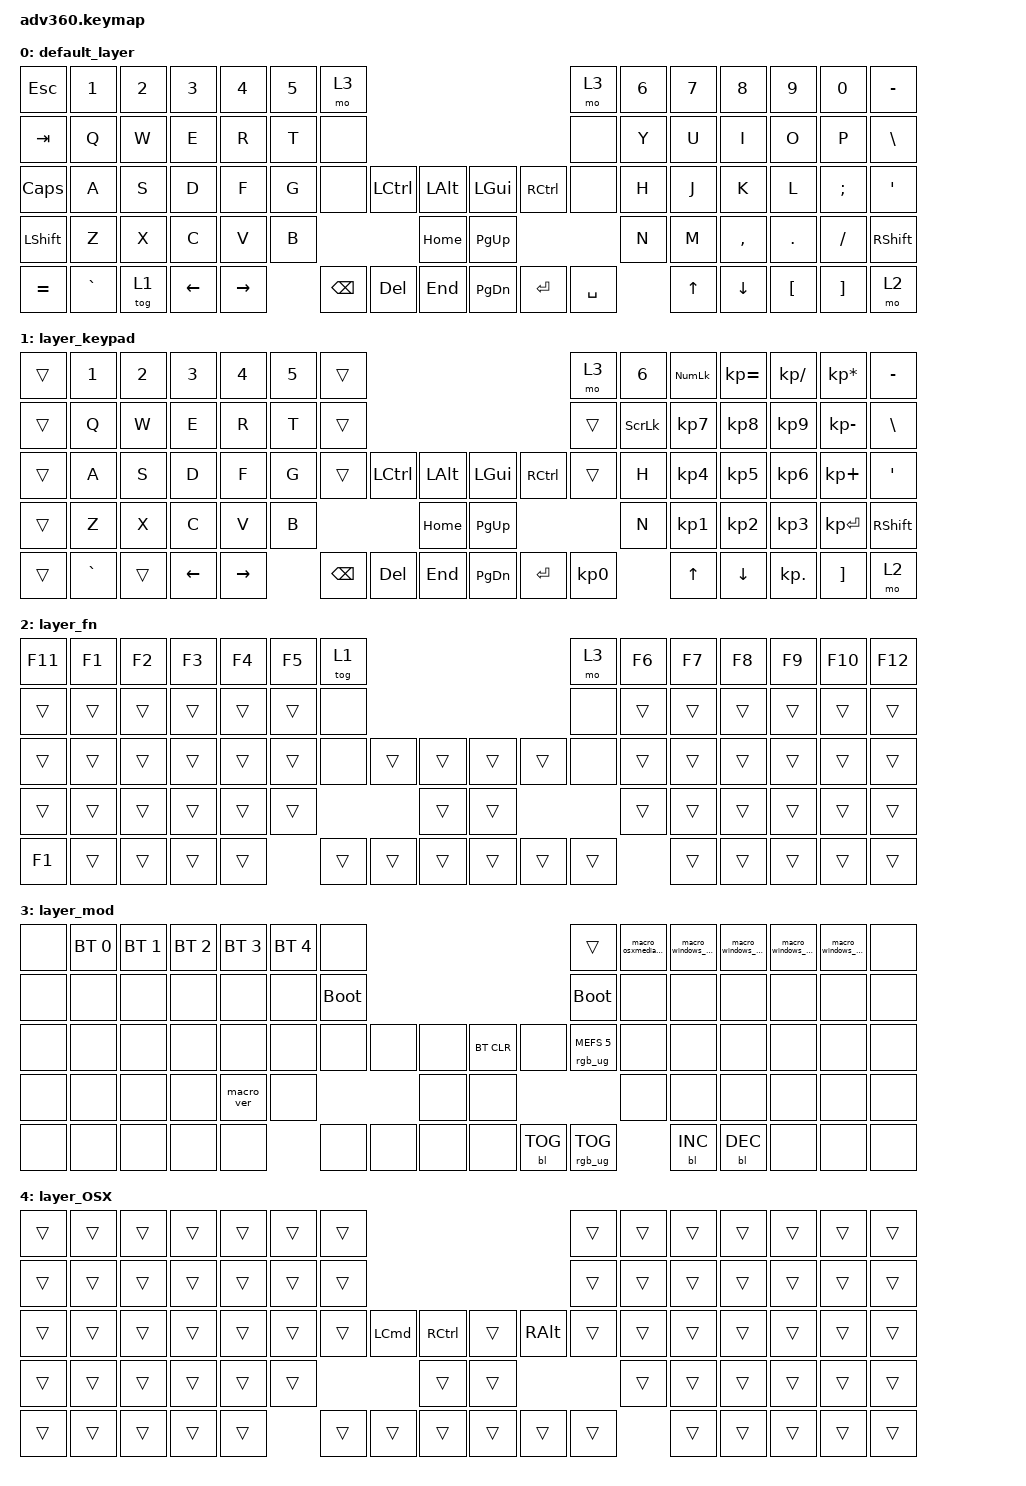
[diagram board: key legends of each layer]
/*
 * Copyright (c) 2020 The ZMK Contributors
 *
 * SPDX-License-Identifier: MIT
 */
/* THIS FILE WAS GENERATED!
 *
 * This file was generated automatically. You may or may not want to
 * edit it directly.
 */

#include <behaviors.dtsi>
#include <dt-bindings/zmk/backlight.h>
#include <dt-bindings/zmk/bt.h>
#include <dt-bindings/zmk/keys.h>
#include <dt-bindings/zmk/rgb.h>

/ {
    behaviors {
        #include "macros.dtsi"
    #include "version.dtsi"

        hm: homerow_mods {
            compatible = "zmk,behavior-hold-tap";
            label = "HOMEROW_MODS";
            #binding-cells = <2>;
            tapping-term-ms = <200>;
            quick_tap_ms = <175>;
            flavor = "tap-preferred";
            bindings = <&kp>, <&kp>;
        };
    };

    macros {
        macro_windows_bt1: macro_mainwindows {
            compatible = "zmk,behavior-macro";
            #binding-cells = <0>;
            bindings = <&bt BT_SEL 1 &to 0>;
            label = "MACRO_MAINWINDOWS";
        };

        macro_osxmediamini_bt0: macro_osxmediamini {
            compatible = "zmk,behavior-macro";
            #binding-cells = <0>;
            bindings = <&bt BT_SEL 0 &to 4>;
            label = "MACRO_OSXMEDIAMINI";
        };

        macro_windows_bt2: macro_maclaptop {
            compatible = "zmk,behavior-macro";
            #binding-cells = <0>;
            bindings = <&bt BT_SEL 2 &to 0>;
            label = "MACRO_MACLAPTOP";
        };

        macro_windows_bt3: macro_workwindows {
            compatible = "zmk,behavior-macro";
            #binding-cells = <0>;
            bindings = <&bt BT_SEL 3 &to 0>;
            label = "MACRO_WORKWINDOWS";
        };

        macro_windows_bt4: macro_windows_bt4 {
            compatible = "zmk,behavior-macro";
            #binding-cells = <0>;
            bindings = <&bt BT_SEL 4 &to 0>;
            label = "MACRO_WINDOWS_BT4";
        };
    };

    keymap {
        compatible = "zmk,keymap";

        default_layer {
            bindings = <
&kp ESCAPE      &kp N1     &kp N2  &kp N3    &kp N4     &kp N5  &mo 3                                                    &mo 3      &kp N6  &kp N7  &kp N8     &kp N9    &kp N0    &kp MINUS
&kp TAB         &kp Q      &kp W   &kp E     &kp R      &kp T   &none                                                    &none      &kp Y   &kp U   &kp I      &kp O     &kp P     &kp BSLH
&kp CAPSLOCK    &kp A      &kp S   &kp D     &kp F      &kp G   &none     &kp LCTRL  &kp LALT      &kp LGUI   &kp RCTRL  &none      &kp H   &kp J   &kp K      &kp L     &kp SEMI  &kp SQT
&kp LEFT_SHIFT  &kp Z      &kp X   &kp C     &kp V      &kp B                        &kp HOME      &kp PG_UP                        &kp N   &kp M   &kp COMMA  &kp DOT   &kp FSLH  &kp RSHFT
&kp EQUAL       &kp GRAVE  &tog 1  &kp LEFT  &kp RIGHT          &kp BSPC  &kp DEL    &kp END       &kp PG_DN  &kp ENTER  &kp SPACE          &kp UP  &kp DOWN   &kp LBKT  &kp RBKT  &mo 2
            >;
        };

        layer_keypad {
            bindings = <
&trans  &kp N1     &kp N2  &kp N3    &kp N4     &kp N5  &trans                                                   &mo 3      &kp N6          &kp KP_NUM  &kp KP_EQUAL  &kp KP_DIVIDE  &kp KP_MULTIPLY  &kp MINUS
&trans  &kp Q      &kp W   &kp E     &kp R      &kp T   &trans                                                   &trans     &kp SCROLLLOCK  &kp KP_N7   &kp KP_N8     &kp KP_N9      &kp KP_MINUS     &kp BSLH
&trans  &kp A      &kp S   &kp D     &kp F      &kp G   &trans    &kp LCTRL  &kp LALT      &kp LGUI   &kp RCTRL  &trans     &kp H           &kp KP_N4   &kp KP_N5     &kp KP_N6      &kp KP_PLUS      &kp SQT
&trans  &kp Z      &kp X   &kp C     &kp V      &kp B                        &kp HOME      &kp PG_UP                        &kp N           &kp KP_N1   &kp KP_N2     &kp KP_N3      &kp KP_ENTER     &kp RSHFT
&trans  &kp GRAVE  &trans  &kp LEFT  &kp RIGHT          &kp BSPC  &kp DEL    &kp END       &kp PG_DN  &kp ENTER  &kp KP_N0                  &kp UP      &kp DOWN      &kp KP_DOT     &kp RBKT         &mo 2
            >;
        };

        layer_fn {
            bindings = <
&kp F11  &kp F1  &kp F2  &kp F3  &kp F4  &kp F5  &tog 1                                      &mo 3   &kp F6  &kp F7  &kp F8  &kp F9  &kp F10  &kp F12
&trans   &trans  &trans  &trans  &trans  &trans  &none                                       &none   &trans  &trans  &trans  &trans  &trans   &trans
&trans   &trans  &trans  &trans  &trans  &trans  &none   &trans  &trans      &trans  &trans  &none   &trans  &trans  &trans  &trans  &trans   &trans
&trans   &trans  &trans  &trans  &trans  &trans                  &trans      &trans                  &trans  &trans  &trans  &trans  &trans   &trans
&kp F1   &trans  &trans  &trans  &trans          &trans  &trans  &trans      &trans  &trans  &trans          &trans  &trans  &trans  &trans   &trans
            >;
        };

        layer_mod {
            bindings = <
&none  &bt BT_SEL 0  &bt BT_SEL 1  &bt BT_SEL 2  &bt BT_SEL 3  &bt BT_SEL 4  &none                                                  &trans                  &macro_osxmediamini_bt0  &macro_windows_bt1  &macro_windows_bt2  &macro_windows_bt3  &macro_windows_bt4  &none
&none  &none         &none         &none         &none         &none         &bootloader                                            &bootloader             &none                    &none               &none               &none               &none               &none
&none  &none         &none         &none         &none         &none         &none        &none  &none      &bt BT_CLR  &none       &rgb_ug RGB_MEFS_CMD 5  &none                    &none               &none               &none               &none               &none
&none  &none         &none         &none         &macro_ver    &none                             &none      &none                                           &none                    &none               &none               &none               &none               &none
&none  &none         &none         &none         &none                       &none        &none  &none      &none       &bl BL_TOG  &rgb_ug RGB_TOG                                  &bl BL_INC          &bl BL_DEC          &none               &none               &none
            >;
        };

        layer_OSX {
            bindings = <
&trans  &trans  &trans  &trans  &trans  &trans  &trans                                                                  &trans  &trans  &trans  &trans  &trans  &trans  &trans
&trans  &trans  &trans  &trans  &trans  &trans  &trans                                                                  &trans  &trans  &trans  &trans  &trans  &trans  &trans
&trans  &trans  &trans  &trans  &trans  &trans  &trans  &kp LEFT_COMMAND  &kp RIGHT_CONTROL      &trans  &kp RIGHT_ALT  &trans  &trans  &trans  &trans  &trans  &trans  &trans
&trans  &trans  &trans  &trans  &trans  &trans                            &trans                 &trans                         &trans  &trans  &trans  &trans  &trans  &trans
&trans  &trans  &trans  &trans  &trans          &trans  &trans            &trans                 &trans  &trans         &trans          &trans  &trans  &trans  &trans  &trans
            >;
        };
    };
};
